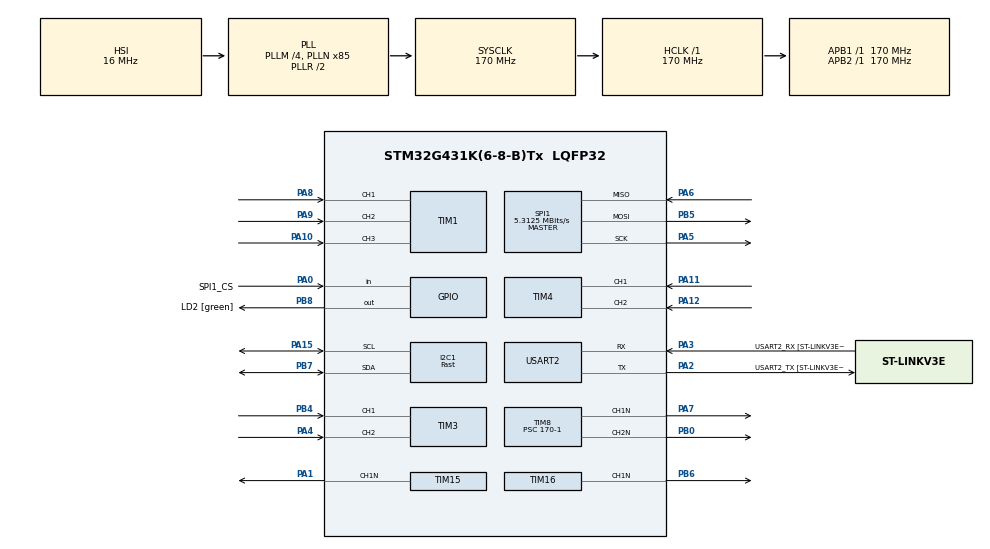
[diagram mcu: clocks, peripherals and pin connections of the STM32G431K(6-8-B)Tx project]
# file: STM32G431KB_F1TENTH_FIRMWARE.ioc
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I2C1.I2C_Speed_Mode=I2C_Fast
I2C1.Timing=0x10802D9B
Mcu.Family=STM32G4
Mcu.Name=STM32G431K(6-8-B)Tx
Mcu.Package=LQFP32
NVIC.PriorityGroup=NVIC_PRIORITYGROUP_4
PA0.GPIO_Label=SPI1_CS
PA0.Signal=GPIO_Input
PA1.Mode=PWM Generation1 CH1N
PA1.Signal=TIM15_CH1N
PA10.Signal=S_TIM1_CH3
PA11.Signal=S_TIM4_CH1
PA12.Signal=S_TIM4_CH2
PA13.GPIO_Label=T_SWDIO
PA13.Mode=Serial_Wire
PA13.Signal=SYS_JTMS-SWDIO
PA14.GPIO_Label=T_SWCLK
PA14.Mode=Serial_Wire
PA14.Signal=SYS_JTCK-SWCLK
PA15.Mode=I2C
PA15.Signal=I2C1_SCL
PA2.GPIO_Label=USART2_TX [ST-LINKV3E_VCP_RX]
PA2.Mode=Asynchronous
PA2.Signal=USART2_TX
PA3.GPIO_Label=USART2_RX [ST-LINKV3E_VCP_TX]
PA3.Mode=Asynchronous
PA3.Signal=USART2_RX
PA4.Signal=S_TIM3_CH2
PA5.Mode=Full_Duplex_Master
PA5.Signal=SPI1_SCK
PA6.Mode=Full_Duplex_Master
PA6.Signal=SPI1_MISO
PA7.Mode=PWM Generation1 CH1N
PA7.Signal=TIM8_CH1N
PA8.Signal=S_TIM1_CH1
PA9.Signal=S_TIM1_CH2
PB0.Mode=PWM Generation2 CH2N
PB0.Signal=TIM8_CH2N
PB3.GPIO_Label=T_SWO
PB3.Signal=SYS_JTDO-SWO
PB4.Signal=S_TIM3_CH1
PB5.Mode=Full_Duplex_Master
PB5.Signal=SPI1_MOSI
PB6.GPIO_Speed=GPIO_SPEED_FREQ_MEDIUM
PB6.Mode=PWM Generation1 CH1N
PB6.Signal=TIM16_CH1N
PB7.Mode=I2C
PB7.Signal=I2C1_SDA
PB8-BOOT0.GPIO_Label=LD2 [green]
PB8-BOOT0.Signal=GPIO_Output
ProjectManager.HeapSize=0x200
ProjectManager.StackSize=0x400
ProjectManager.TargetToolchain=STM32CubeIDE
RCC.ADC12Freq_Value=170000000
RCC.AHBFreq_Value=170000000
RCC.APB1Freq_Value=170000000
RCC.APB1TimFreq_Value=170000000
RCC.APB2Freq_Value=170000000
RCC.APB2TimFreq_Value=170000000
RCC.CortexFreq_Value=170000000
RCC.EXTERNAL_CLOCK_VALUE=12288000
RCC.HCLKFreq_Value=170000000
RCC.HSE_VALUE=8000000
RCC.HSI48_VALUE=48000000
RCC.HSI_VALUE=16000000
RCC.LSE_VALUE=32768
RCC.PLLM=RCC_PLLM_DIV4
RCC.PLLN=85
RCC.SYSCLKFreq_VALUE=170000000
RCC.SYSCLKSource=RCC_SYSCLKSOURCE_PLLCLK
RCC.USBFreq_Value=170000000
RCC.VCOOutputFreq_Value=340000000
SH.S_TIM1_CH1.0=TIM1_CH1,Xored_Inputs_Hall_Sensor_Interface
SH.S_TIM1_CH2.0=TIM1_CH2,Xored_Inputs_Hall_Sensor_Interface
SH.S_TIM1_CH3.0=TIM1_CH3,Xored_Inputs_Hall_Sensor_Interface
SH.S_TIM3_CH1.0=TIM3_CH1,Encoder_Interface
SH.S_TIM3_CH2.0=TIM3_CH2,Encoder_Interface
SH.S_TIM4_CH1.0=TIM4_CH1,Encoder_Interface
SH.S_TIM4_CH2.0=TIM4_CH2,Encoder_Interface
SPI1.BaudRatePrescaler=SPI_BAUDRATEPRESCALER_32
SPI1.CalculateBaudRate=5.3125 MBits/s
SPI1.DataSize=SPI_DATASIZE_8BIT
SPI1.Direction=SPI_DIRECTION_2LINES
SPI1.Mode=SPI_MODE_MASTER
SPI1.VirtualType=VM_MASTER
TIM15.Channel-PWM\ Generation1\ CH1N=TIM_CHANNEL_1
TIM16.AutoReloadPreload=TIM_AUTORELOAD_PRELOAD_DISABLE
TIM16.Channel=TIM_CHANNEL_1
TIM16.OCFastMode_PWM=TIM_OCFAST_DISABLE
TIM16.PeriodNoDither=1000 - 1
TIM16.Prescaler=170 - 1
TIM16.PulseNoDither_1=499
TIM8.Channel-PWM\ Generation1\ CH1N=TIM_CHANNEL_1
TIM8.Channel-PWM\ Generation2\ CH2N=TIM_CHANNEL_2
TIM8.PeriodNoDither=1000-1
TIM8.Prescaler=170-1
TIM8.PulseNoDither_1=499
USART2.VirtualMode-Asynchronous=VM_ASYNC
USART2.WordLength=WORDLENGTH_8B
VP_SYS_VS_DBSignals.Mode=DisableDeadBatterySignals
VP_TIM15_VS_ClockSourceINT.Mode=Internal
VP_TIM16_VS_ClockSourceINT.Mode=Enable_Timer
board=NUCLEO-G431KB

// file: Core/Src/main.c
/* USER CODE BEGIN Header */
/**
  ******************************************************************************
  * @file           : main.c
  * @brief          : Main program body
  ******************************************************************************
  * @attention
  *
  * Copyright (c) 2024 STMicroelectronics.
  * All rights reserved.
  *
  * This software is licensed under terms that can be found in the LICENSE file
  * in the root directory of this software component.
  * If no LICENSE file comes with this software, it is provided AS-IS.
  *
  ******************************************************************************
  */
/* USER CODE END Header */
#include "main.h"
#include "i2c.h"
#include "spi.h"
#include "tim.h"
#include "usart.h"
#include "gpio.h"

/* USER CODE BEGIN Includes */
#include "Controller.h"
#include "Cytron_Motor_260rpm_250W.h"
#include "pwm_freq.h"
#include "User_function.h"
#include "Servo.h"

/* USER CODE END Includes */

/* USER CODE BEGIN PV */
Servo_Structure Drive = {
		.htimx = &htim8,
		.channelx = TIM_CHANNEL_1
};

Servo_Structure Steer = {
		.htimx = &htim8,
		.channelx = TIM_CHANNEL_2
};

//float pwm = 1.36;
int32_t degree = 1350;
int32_t speed = 1500;

/* USER CODE END PV */

void SystemClock_Config(void);

int main(void)
{

  /* MCU Configuration--------------------------------------------------------*/

  /* Reset of all peripherals, Initializes the Flash interface and the Systick. */
  HAL_Init();

  /* Configure the system clock */
  SystemClock_Config();

  /* Initialize all configured peripherals */
  MX_GPIO_Init();
  MX_USART2_UART_Init();
  MX_I2C1_Init();
  MX_TIM1_Init();
  MX_TIM3_Init();
  MX_TIM4_Init();
  MX_SPI1_Init();
  MX_TIM15_Init();
  MX_TIM16_Init();
  MX_TIM8_Init();
  /* USER CODE BEGIN 2 */

//  HAL_TIM_Base_Start(&htim16); // Start Timer
//  HAL_TIMEx_PWMN_Start(&htim16, TIM_CHANNEL_1); // Start PWM Mode

  Servo_Init(&Drive, 170*1.0e6, True);
  RC_Set_Input_Range(&Drive, 500, 2500);

  Servo_Init(&Steer, 170*1.0e6, True);
  RC_Set_Input_Range(&Steer, 500, 2500);
  /* USER CODE END 2 */

  /* Infinite loop */
  while (1)
  {

    /* USER CODE BEGIN 3 */
	  RC_Signal_Write(&Steer, degree);
	  RC_Signal_Write(&Drive, speed);
	  HAL_Delay(20);

//	  HAL_Delay(1000);

  }
  /* USER CODE END 3 */
}

void SystemClock_Config(void)
{
  RCC_OscInitTypeDef RCC_OscInitStruct = {0};
  RCC_ClkInitTypeDef RCC_ClkInitStruct = {0};

  /** Configure the main internal regulator output voltage
  */
  HAL_PWREx_ControlVoltageScaling(PWR_REGULATOR_VOLTAGE_SCALE1_BOOST);

  /** Initializes the RCC Oscillators according to the specified parameters
  * in the RCC_OscInitTypeDef structure.
  */
  RCC_OscInitStruct.OscillatorType = RCC_OSCILLATORTYPE_HSI;
  RCC_OscInitStruct.HSIState = RCC_HSI_ON;
  RCC_OscInitStruct.HSICalibrationValue = RCC_HSICALIBRATION_DEFAULT;
  RCC_OscInitStruct.PLL.PLLState = RCC_PLL_ON;
  RCC_OscInitStruct.PLL.PLLSource = RCC_PLLSOURCE_HSI;
  RCC_OscInitStruct.PLL.PLLM = RCC_PLLM_DIV4;
  RCC_OscInitStruct.PLL.PLLN = 85;
  RCC_OscInitStruct.PLL.PLLP = RCC_PLLP_DIV2;
  RCC_OscInitStruct.PLL.PLLQ = RCC_PLLQ_DIV2;
  RCC_OscInitStruct.PLL.PLLR = RCC_PLLR_DIV2;
  if (HAL_RCC_OscConfig(&RCC_OscInitStruct) != HAL_OK)
  {
    Error_Handler();
  }

  /** Initializes the CPU, AHB and APB buses clocks
  */
  RCC_ClkInitStruct.ClockType = RCC_CLOCKTYPE_HCLK|RCC_CLOCKTYPE_SYSCLK
                              |RCC_CLOCKTYPE_PCLK1|RCC_CLOCKTYPE_PCLK2;
  RCC_ClkInitStruct.SYSCLKSource = RCC_SYSCLKSOURCE_PLLCLK;
  RCC_ClkInitStruct.AHBCLKDivider = RCC_SYSCLK_DIV1;
  RCC_ClkInitStruct.APB1CLKDivider = RCC_HCLK_DIV1;
  RCC_ClkInitStruct.APB2CLKDivider = RCC_HCLK_DIV1;

  if (HAL_RCC_ClockConfig(&RCC_ClkInitStruct, FLASH_LATENCY_4) != HAL_OK)
  {
    Error_Handler();
  }
}

void Error_Handler(void)
{
  __disable_irq();
  while (1)
  {
  }
}
